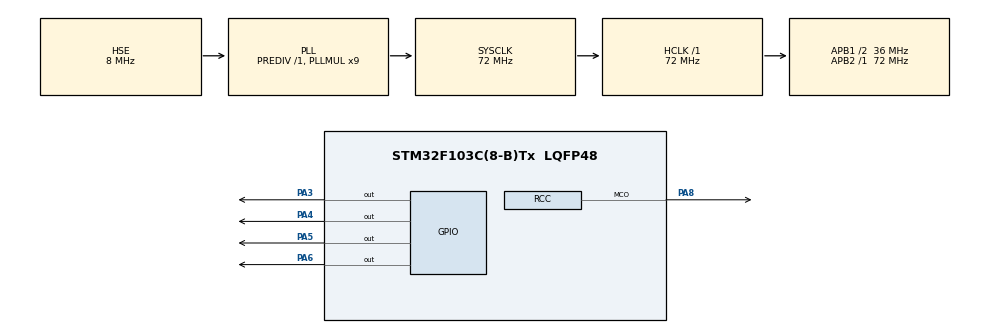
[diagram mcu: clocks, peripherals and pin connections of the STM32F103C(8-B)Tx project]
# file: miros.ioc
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Mcu.Family=STM32F1
Mcu.Name=STM32F103C(8-B)Tx
Mcu.Package=LQFP48
NVIC.PriorityGroup=NVIC_PRIORITYGROUP_4
PA13.Mode=Trace_Asynchronous_SW
PA13.Signal=SYS_JTMS-SWDIO
PA14.Mode=Trace_Asynchronous_SW
PA14.Signal=SYS_JTCK-SWCLK
PA3.Signal=GPIO_Output
PA4.Signal=GPIO_Output
PA5.Signal=GPIO_Output
PA6.Signal=GPIO_Output
PA8.GPIO_Speed=GPIO_SPEED_FREQ_HIGH
PA8.Mode=Clock-out
PA8.Signal=RCC_MCO
PB3.Mode=Trace_Asynchronous_SW
PB3.Signal=SYS_JTDO-TRACESWO
PD0-OSC_IN.Mode=HSE-External-Oscillator
PD0-OSC_IN.Signal=RCC_OSC_IN
PD1-OSC_OUT.Mode=HSE-External-Oscillator
PD1-OSC_OUT.Signal=RCC_OSC_OUT
ProjectManager.HeapSize=0x200
ProjectManager.StackSize=0x400
ProjectManager.TargetToolchain=STM32CubeIDE
RCC.AHBFreq_Value=72000000
RCC.APB1CLKDivider=RCC_HCLK_DIV2
RCC.APB1Freq_Value=36000000
RCC.APB1TimFreq_Value=72000000
RCC.APB2Freq_Value=72000000
RCC.APB2TimFreq_Value=72000000
RCC.HCLKFreq_Value=72000000
RCC.PLLMUL=RCC_PLL_MUL9
RCC.PLLSourceVirtual=RCC_PLLSOURCE_HSE
RCC.RCC_MCOSource=RCC_MCO1SOURCE_PLLCLK
RCC.SYSCLKFreq_VALUE=72000000
RCC.SYSCLKSource=RCC_SYSCLKSOURCE_PLLCLK
RCC.USBFreq_Value=72000000
board=custom

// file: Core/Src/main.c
/* USER CODE BEGIN Header */
/**
 ******************************************************************************
 * @file           : main.c
 * @brief          : Main program body
 ******************************************************************************
 * @attention
 *
 * Copyright (c) 2023 STMicroelectronics.
 * All rights reserved.
 *
 * This software is licensed under terms that can be found in the LICENSE file
 * in the root directory of this software component.
 * If no LICENSE file comes with this software, it is provided AS-IS.
 *
 ******************************************************************************
 */
/* USER CODE END Header */
#include "main.h"

/* USER CODE BEGIN Includes */
#include "gpio.h"
#include "miros.h"

/* USER CODE END Includes */

/* USER CODE BEGIN PD */

#define MIN_STACK_SIZE      64

/* USER CODE END PD */

/* USER CODE BEGIN PV */

static __ALIGNED(8)    uint32_t FooStack[MIN_STACK_SIZE] = { 0 };
static __ALIGNED(8)    uint32_t BarStack[MIN_STACK_SIZE] = { 0 };
static __ALIGNED(8)    uint32_t HamStack[MIN_STACK_SIZE] = { 0 };
static __ALIGNED(8)    uint32_t IdleStack[MIN_STACK_SIZE] = { 0 };

static Task_t FooTask = { 0 };
static Task_t BarTask = { 0 };
static Task_t HamTask = { 0 };

/* USER CODE END PV */

void SystemClock_Config(void);
/* USER CODE BEGIN PFP */
void toggle_forever(GPIO_TypeDef *port, uint16_t pin, uint32_t time_on,
    uint32_t time_off);

void loop_delay(uint32_t n);

void foo(void);
void bar(void);
void ham(void);
void idle(void);

void HAL_SYSTICK_Callback(void);

/* USER CODE END PFP */

int main(void)
{

  /* MCU Configuration--------------------------------------------------------*/

  /* Reset of all peripherals, Initializes the Flash interface and the Systick. */

  /* Initialize all configured peripherals */
  /* USER CODE BEGIN 2 */

  /*  1. initialize task  */
  MIROS_Initialize(idle, IdleStack, MIN_STACK_SIZE);

  MIROS_TaskInitialize(&FooTask, foo, FooStack, MIN_STACK_SIZE);
  MIROS_TaskInitialize(&BarTask, bar, BarStack, MIN_STACK_SIZE);
  MIROS_TaskInitialize(&HamTask, ham, HamStack, MIN_STACK_SIZE);

  HAL_Init();
  SystemClock_Config();
  MX_GPIO_Init();

  MIROS_Sched();

  /**
   * This part shouldn't be reachable if OS is working correctly
   * */
  assert_param(0);

  /* USER CODE END 2 */

  /* Infinite loop */
  while (1) {

  }
}

void SystemClock_Config(void)
{
  RCC_OscInitTypeDef RCC_OscInitStruct = {0};
  RCC_ClkInitTypeDef RCC_ClkInitStruct = {0};

  /** Initializes the RCC Oscillators according to the specified parameters
  * in the RCC_OscInitTypeDef structure.
  */
  RCC_OscInitStruct.OscillatorType = RCC_OSCILLATORTYPE_HSE;
  RCC_OscInitStruct.HSEState = RCC_HSE_ON;
  RCC_OscInitStruct.HSEPredivValue = RCC_HSE_PREDIV_DIV1;
  RCC_OscInitStruct.HSIState = RCC_HSI_ON;
  RCC_OscInitStruct.PLL.PLLState = RCC_PLL_ON;
  RCC_OscInitStruct.PLL.PLLSource = RCC_PLLSOURCE_HSE;
  RCC_OscInitStruct.PLL.PLLMUL = RCC_PLL_MUL9;
  if (HAL_RCC_OscConfig(&RCC_OscInitStruct) != HAL_OK)
  {
    Error_Handler();
  }

  /** Initializes the CPU, AHB and APB buses clocks
  */
  RCC_ClkInitStruct.ClockType = RCC_CLOCKTYPE_HCLK|RCC_CLOCKTYPE_SYSCLK
                              |RCC_CLOCKTYPE_PCLK1|RCC_CLOCKTYPE_PCLK2;
  RCC_ClkInitStruct.SYSCLKSource = RCC_SYSCLKSOURCE_PLLCLK;
  RCC_ClkInitStruct.AHBCLKDivider = RCC_SYSCLK_DIV1;
  RCC_ClkInitStruct.APB1CLKDivider = RCC_HCLK_DIV2;
  RCC_ClkInitStruct.APB2CLKDivider = RCC_HCLK_DIV1;

  if (HAL_RCC_ClockConfig(&RCC_ClkInitStruct, FLASH_LATENCY_2) != HAL_OK)
  {
    Error_Handler();
  }
  HAL_RCC_MCOConfig(RCC_MCO, RCC_MCO1SOURCE_PLLCLK, RCC_MCODIV_1);
}

/* USER CODE BEGIN 4 */
void toggle_forever(GPIO_TypeDef *port, uint16_t pin, uint32_t time_on,
    uint32_t time_off) {
  HAL_GPIO_WritePin(port, pin, GPIO_PIN_RESET);

  while (1) {
    HAL_GPIO_WritePin(port, pin, GPIO_PIN_SET);
    HAL_Delay(time_on);
    HAL_GPIO_WritePin(port, pin, GPIO_PIN_RESET);
    HAL_Delay(time_off);
  }
}

void foo(void) {
  toggle_forever(GPIOA, GPIO_PIN_4, 500, 500);
}

void bar(void) {
  toggle_forever(GPIOA, GPIO_PIN_5, 500, 500);
}

void ham(void) {
  toggle_forever(GPIOA, GPIO_PIN_6, 500, 500);
}

void idle(void) {
  toggle_forever(GPIOA, GPIO_PIN_3, 1000, 1000);
}

/* USER CODE END 4 */

void Error_Handler(void)
{
  __disable_irq();
  while (1) {
  }
}

#ifdef  USE_FULL_ASSERT
/**
  * @brief  Reports the name of the source file and the source line number
  *         where the assert_param error has occurred.
  * @param  file: pointer to the source file name
  * @param  line: assert_param error line source number
  * @retval None
  */
void assert_failed(uint8_t *file, uint32_t line)
{
  /* USER CODE BEGIN 6 */
  /* User can add his own implementation to report the file name and line number,
   ex: printf("Wrong parameters value: file %s on line %d\r\n", file, line) */
  Error_Handler();
  (void) file;
  (void) line;
  /* USER CODE END 6 */
}
#endif /* USE_FULL_ASSERT */
